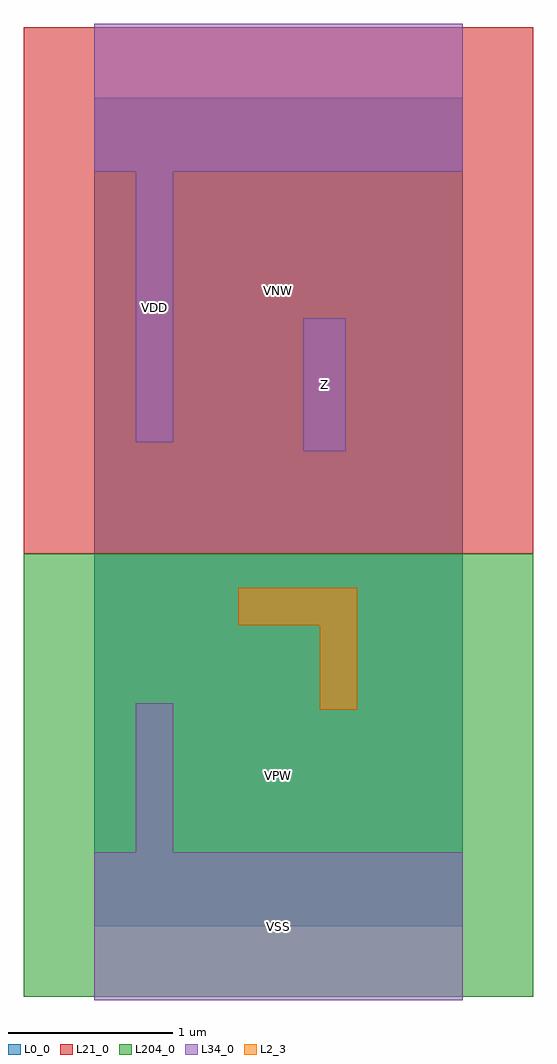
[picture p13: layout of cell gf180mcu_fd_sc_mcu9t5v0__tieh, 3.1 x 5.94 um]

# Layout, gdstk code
import gdstk
lib = gdstk.Library(unit=1e-6, precision=1e-09)
def R(c, l, rs):  # rectangles x0, y0, x1, y1
    for r in rs: c.add(gdstk.rectangle(r[:2], r[2:], *l))
L0_0 = (0, 0)
L2_3 = (2, 3)
L21_0 = (21, 0)
L34_0 = (34, 0)
L204_0 = (204, 0)

gf180mcu_fd_sc_mcu9t5v0_ = lib.new_cell('gf180mcu_fd_sc_mcu9t5v0__tieh')
R(gf180mcu_fd_sc_mcu9t5v0_, L0_0, [(0,0,2.24,5.04)])
R(gf180mcu_fd_sc_mcu9t5v0_, L2_3, [(1.37,1.315,1.6,1.83), (0.875,1.83,1.6,2.06)])
R(gf180mcu_fd_sc_mcu9t5v0_, L21_0, [(-0.43,2.265,2.67,5.47)])
R(gf180mcu_fd_sc_mcu9t5v0_, L34_0, [(0,-0.45,2.24,0.45), (0.25,0.45,0.48,1.355), (1.27,2.89,1.53,3.7), (0.25,2.945,0.48,4.59), (0,4.59,2.24,5.49)])
R(gf180mcu_fd_sc_mcu9t5v0_, L204_0, [(-0.43,-0.43,2.67,2.265)])
gf180mcu_fd_sc_mcu9t5v0_.add(gdstk.Label('Z', (1.4,3.295), layer=34, texttype=10))
gf180mcu_fd_sc_mcu9t5v0_.add(gdstk.Label('VDD', (0.365,3.767), layer=34, texttype=10))
gf180mcu_fd_sc_mcu9t5v0_.add(gdstk.Label('VSS', (1.12,0), layer=34, texttype=10))
gf180mcu_fd_sc_mcu9t5v0_.add(gdstk.Label('VNW', (1.12,3.867), layer=3, texttype=1))
gf180mcu_fd_sc_mcu9t5v0_.add(gdstk.Label('VPW', (1.12,0.917), layer=4, texttype=1))

lib.write_gds('gf180mcu_fd_sc_mcu9t5v0__tieh.gds')
